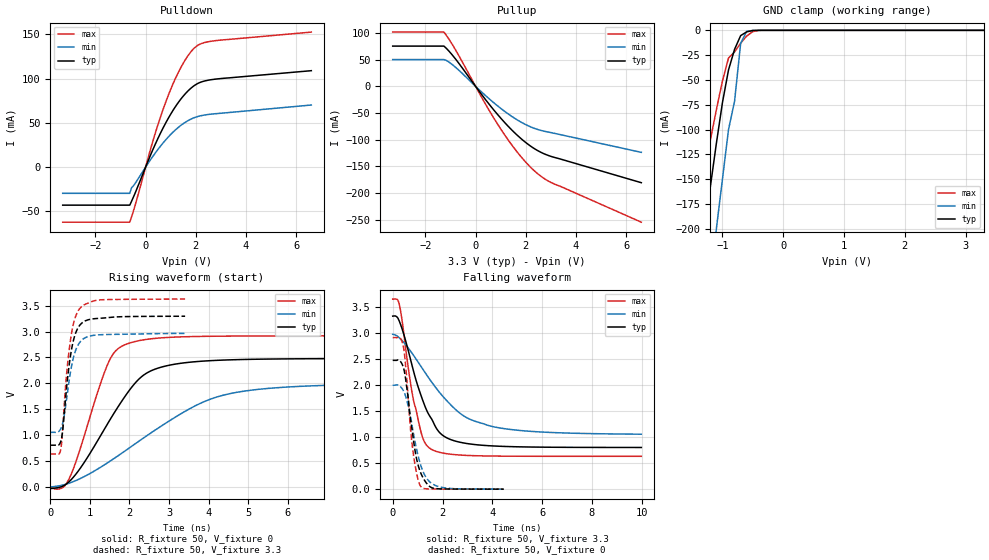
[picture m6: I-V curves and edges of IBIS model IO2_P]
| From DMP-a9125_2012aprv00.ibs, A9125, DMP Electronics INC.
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[Model]   IO2_P
|   IO2_P  MODEL
|   DATE   :  2008/8/25 ;
|   REVISION :  0.1.1 ;
|   Model generated   Mon Aug 25 17:59:36 2008
Model_type  I/O
Polarity   Non-Inverting
Enable   Active-Low
| Signals
Vinl = 0.700
Vinh = 2.100
Vmeas = 1.65
| variable   typ   min   max
C_comp   3.707pf   3.614pf   4.133pf
[Model Spec]
|   Subparameter   typ   min   max
Vinh   2.100   2.100   2.100
Vinl   0.700   0.700   0.700
Vmeas   1.650   1.485   1.815
[Temperature Range]   25   125   -40
|   typ   min   max
[Voltage Range]   3.3V   2.97V   3.63V
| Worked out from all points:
|   slope of the pulldown table from 0 to 0.495 V, typ, clamps not added: 15.2 ohm
|   slope of the pullup table from 0 to 0.495 V, typ, clamps not added: 16.1 ohm
|   GND clamp passes 1 mA (typ) near -0.56 V on its own axis
|   rising waveform, R_fixture 50, V_fixture 0: 20-80 % time 1.26ns typ, 2.43ns min, 744ps max; typ from -0.037 V to 2.48 V
|   falling waveform, R_fixture 50, V_fixture 3.3: 20-80 % time 1.07ns typ, 1.95ns min, 636ps max; typ from 3.33 V to 0.803 V
|   rising waveform, R_fixture 50, V_fixture 3.3: 20-80 % time 234ps typ, 253ps min, 229ps max; typ from 0.802 V to 3.3 V
|   falling waveform, R_fixture 50, V_fixture 0: 20-80 % time 445ps typ, 547ps min, 331ps max; typ from 2.48 V to 0.001 V
[Pulldown]
|   Voltage   I(typ)   I(min)   I(max)
-3.3V     -42.84mA   -29.52mA   -62.08mA
-630mV    -42.84mA   -29.52mA   -62.08mA
-560mV    -38.57mA   -23.31mA   -56.31mA
350mV     23.61mA    14.6mA     34.98mA
840mV     51.87mA    32.03mA    76.31mA
1.19V     68.38mA    42.09mA    100.2mA
1.47V     79.15mA    48.52mA    115.8mA
1.75V     87.68mA    53.43mA    128.2mA
2.03V     93.69mA    56.74mA    136.5mA
2.31V     96.96mA    58.66mA    140.3mA
2.8V      99.42mA    60.38mA    142.8mA
6.6V      108.9mA    70.14mA    152.4mA
[GND Clamp]
|   Voltage   I(typ)   I(min)   I(max)
-3.3V     -1.21A     -1.3A      -1.15A
-1.4V     -252mA     -350mA     -200mA
-1.3V     -204mA     -300mA     -150mA
-1.2V     -158mA     -250mA     -111mA
-1.1V     -114mA     -200mA     -80mA
-1V       -72.9mA    -150mA     -51.1mA
-900mV    -39.9mA    -100mA     -27.9mA
-800mV    -19.1mA    -71.3mA    -21.7mA
-700mV    -5.32mA    -13mA      -12.9mA
-600mV    -1.53mA    -1.01mA    -5.7mA
-400mV    -13.4uA    -4.88uA    -88.4uA
3.3V      0A         0A         0A
[Pullup]
|   Voltage   I(typ)   I(min)   I(max)
|( VDD-Vmeas )
-3.3V     75.4mA     50.14mA    101.7mA
-1.26V    75.4mA     50.14mA    101.7mA
-1.12V    69.03mA    47.3mA     92.62mA
-840mV    53.69mA    37.41mA    71.66mA
350mV     -22.05mA   -15.33mA   -29.57mA
980mV     -58.38mA   -40.45mA   -78.32mA
1.61V     -89.45mA   -61.48mA   -120.3mA
1.96V     -103.9mA   -70.84mA   -140.1mA
2.24V     -113.6mA   -76.88mA   -153.9mA
2.66V     -124.9mA   -83.27mA   -170.5mA
3.01V     -131.4mA   -86.79mA   -180.3mA
6.6V      -180.6mA   -123.7mA   -254.6mA
[POWER Clamp]
|   Voltage   I(typ)   I(min)   I(max)
|( VDD-Vmeas )
-3.3V     0A         0A         0A
0V        0A         0A         0A
[Rising Waveform]
R_fixture = 50
V_fixture = 0
V_fixture_min = 0
V_fixture_max = 0
C_fixture = 0
L_fixture = 0
|   Time   V(typ)   V(min)   V(max)
0s        -37.46mV   -4.81mV    -14.39mV
295ps     3.442mV    28.04mV    -27mV
472ps     93.76mV    66.54mV    145.6mV
1.475ns   1.251V     475.8mV    2.409V
1.947ns   1.81V      722.4mV    2.763V
2.301ns   2.124V     912.5mV    2.832V
2.714ns   2.291V     1.127V     2.873V
3.776ns   2.424V     1.606V     2.906V
4.602ns   2.455V     1.809V     2.913V
10.27ns   2.48V      1.994V     2.918V
[Falling Waveform]
R_fixture = 50
V_fixture = 3.3
V_fixture_min = 2.97
V_fixture_max = 3.63
C_fixture = 0
L_fixture = 0
|   Time   V(typ)   V(min)   V(max)
0s        3.331V     2.982V     3.659V
260ps     3.241V     2.916V     3.568V
832ps     2.28V      2.579V     1.717V
1.196ns   1.724V     2.319V     1.001V
1.508ns   1.391V     2.099V     781.1mV
1.872ns   1.096V     1.868V     710.3mV
2.236ns   973.3mV    1.671V     678.4mV
2.964ns   880.1mV    1.379V     650.3mV
3.952ns   834.1mV    1.212V     638.2mV
9.984ns   802.9mV    1.058V     632.4mV
[Rising Waveform]
R_fixture = 50
V_fixture = 3.3
V_fixture_min = 2.97
V_fixture_max = 3.63
C_fixture = 0
L_fixture = 0
|   Time   V(typ)   V(min)   V(max)
0s        802.5mV    1.051V     632.4mV
204ps     803.6mV    1.062V     628.2mV
264ps     871mV      1.118V     716.6mV
312ps     1.078V     1.224V     1.097V
408ps     1.879V     1.672V     2.14V
492ps     2.432V     2.127V     2.729V
600ps     2.872V     2.54V      3.195V
744ps     3.121V     2.789V     3.445V
1.248ns   3.257V     2.938V     3.612V
3.408ns   3.297V     2.965V     3.629V
[Falling Waveform]
R_fixture = 50
V_fixture = 0
V_fixture_min = 0
V_fixture_max = 0
C_fixture = 0
L_fixture = 0
|   Time   V(typ)   V(min)   V(max)
0s        2.48V      2.001V     2.918V
285ps     2.472V     1.985V     2.918V
437ps     2.33V      1.888V     2.724V
551ps     2.006V     1.738V     2.215V
798ps     1.072V     1.167V     790.3mV
969ps     562.5mV    748.7mV    288.3mV
1.121ns   318.5mV    467.8mV    55.7mV
1.387ns   96.95mV    194.3mV    6.29mV
1.805ns   8.149mV    55.45mV    2.888mV
4.465ns   705.5uV    1.505mV    280uV
[Ramp]
| variables   typ   min   max
dV/dt_r   1.48818/1.24144n 1.2009/2.44164n 1.75068/739.377p
dV/dt_f   1.49851/1.06623n 1.15116/1.95423n 1.79858/631.394p
R_load   = 50.000000 | Ohms
| [End Model]
